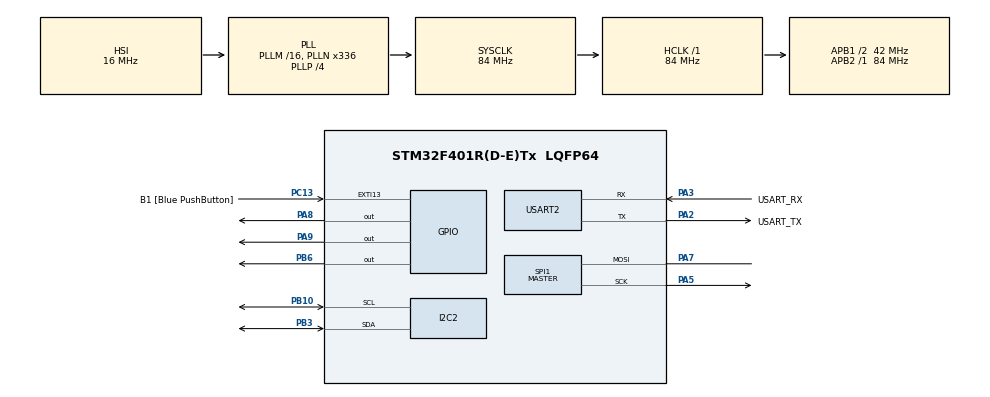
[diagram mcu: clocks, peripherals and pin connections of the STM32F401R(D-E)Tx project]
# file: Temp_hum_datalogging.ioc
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I2C2.I2C_Mode=I2C_Fast
Mcu.Family=STM32F4
Mcu.Name=STM32F401R(D-E)Tx
Mcu.Package=LQFP64
NVIC.PriorityGroup=NVIC_PRIORITYGROUP_0
PA13.GPIO_Label=TMS
PA13.Mode=Serial_Wire
PA13.Signal=SYS_JTMS-SWDIO
PA14.GPIO_Label=TCK
PA14.Mode=Serial_Wire
PA14.Signal=SYS_JTCK-SWCLK
PA2.GPIO_Label=USART_TX
PA2.GPIO_Mode=GPIO_MODE_AF_PP
PA2.GPIO_PuPd=GPIO_NOPULL
PA2.GPIO_Speed=GPIO_SPEED_FREQ_LOW
PA2.Mode=Asynchronous
PA2.Signal=USART2_TX
PA3.GPIO_Label=USART_RX
PA3.GPIO_Mode=GPIO_MODE_AF_PP
PA3.GPIO_PuPd=GPIO_NOPULL
PA3.GPIO_Speed=GPIO_SPEED_FREQ_LOW
PA3.Mode=Asynchronous
PA3.Signal=USART2_RX
PA5.Mode=Simplex_Bidirectional_Master
PA5.Signal=SPI1_SCK
PA7.Mode=Simplex_Bidirectional_Master
PA7.Signal=SPI1_MOSI
PA8.Signal=GPIO_Output
PA9.Signal=GPIO_Output
PB10.GPIO_Pu=GPIO_PULLUP
PB10.Mode=I2C
PB10.Signal=I2C2_SCL
PB3.Mode=I2C
PB3.Signal=I2C2_SDA
PB6.Signal=GPIO_Output
PC13-ANTI_TAMP.GPIO_Label=B1 [Blue PushButton]
PC13-ANTI_TAMP.GPIO_ModeDefaultEXTI=GPIO_MODE_IT_FALLING
PC13-ANTI_TAMP.GPIO_PuPd=GPIO_NOPULL
PC13-ANTI_TAMP.Signal=GPXTI13
PC14-OSC32_IN.Mode=LSE-External-Oscillator
PC14-OSC32_IN.Signal=RCC_OSC32_IN
PC15-OSC32_OUT.Mode=LSE-External-Oscillator
PC15-OSC32_OUT.Signal=RCC_OSC32_OUT
PH0\ -\ OSC_IN.Mode=HSE-External-Clock-Source
PH0\ -\ OSC_IN.Signal=RCC_OSC_IN
PH1\ -\ OSC_OUT.Mode=HSE-External-Clock-Source
PH1\ -\ OSC_OUT.Signal=RCC_OSC_OUT
ProjectManager.HeapSize=0x200
ProjectManager.StackSize=0x400
ProjectManager.TargetToolchain=STM32CubeIDE
RCC.48MHZClocksFreq_Value=48000000
RCC.AHBFreq_Value=84000000
RCC.APB1CLKDivider=RCC_HCLK_DIV2
RCC.APB1Freq_Value=42000000
RCC.APB1TimFreq_Value=84000000
RCC.APB2Freq_Value=84000000
RCC.APB2TimFreq_Value=84000000
RCC.CortexFreq_Value=84000000
RCC.HCLKFreq_Value=84000000
RCC.HSE_VALUE=8000000
RCC.HSI_VALUE=16000000
RCC.PLLN=336
RCC.PLLP=RCC_PLLP_DIV4
RCC.PLLQ=7
RCC.SYSCLKFreq_VALUE=84000000
RCC.SYSCLKSource=RCC_SYSCLKSOURCE_PLLCLK
RCC.VCOOutputFreq_Value=336000000
SPI1.Direction=SPI_DIRECTION_1LINE
SPI1.Mode=SPI_MODE_MASTER
SPI1.VirtualType=VM_MASTER
USART2.VirtualMode=VM_ASYNC
board=NUCLEO-F401RE

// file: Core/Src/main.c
/* USER CODE BEGIN Header */
/**
  ******************************************************************************
  * @file           : main.c
  * @brief          : Main program body
  ******************************************************************************
  * @attention
  *
  * Copyright (c) 2023 STMicroelectronics.
  * All rights reserved.
  *
  * This software is licensed under terms that can be found in the LICENSE file
  * in the root directory of this software component.
  * If no LICENSE file comes with this software, it is provided AS-IS.
  *
  ******************************************************************************
  */
/* USER CODE END Header */
#include "main.h"

/* USER CODE BEGIN Includes */
#include "htu21d.h"
#include "string.h"
#include "stdio.h"
#include "NanoEdgeAI.h"
#include "knowledge.h"
#include "sh1106.h"
/* USER CODE END Includes */

/* USER CODE BEGIN PD */
#define DATA_INPUT_USER 256
#define AXIS_NUMBER 2
#define CONFIRMATIONS_NB	(uint32_t)(3)

/* USER CODE END PD */

I2C_HandleTypeDef hi2c2;

SPI_HandleTypeDef hspi1;

UART_HandleTypeDef huart2;

/* USER CODE BEGIN PV */
float h21_buffer[DATA_INPUT_USER * AXIS_NUMBER] = {0};
float count = 0;
float output_class_buffer[CLASS_NUMBER]; // Buffer of class probabilities
const char *id2class[CLASS_NUMBER + 1] = { // Buffer for mapping class id to class name
	"unknown",
	"class18_19_75_76_data",
	"class18_19_76_77_data",
	"class18_19_77_78_data",
	"class18_19_78_79_data",
	"class18_19_79_80_data",
	"class18_19_80_81_data",
	"class18_19_81_82_data",
	"class18_19_82_83_data",
	"class18_19_83_84_data",
	"class18_19_84_85_data",
	"class19_20_75_76_data",
	"class19_20_76_77_data",
	"class19_20_77_78_data",
	"class19_20_78_79_data",
	"class19_20_79_80_data",
	"class19_20_80_81_data",
	"class19_20_81_82_data",
	"class19_20_82_83_data",
	"class19_20_83_84_data",
	"class19_20_84_85_data",
	"class20_21_75_76_data",
	"class20_21_76_77_data",
	"class20_21_77_78_data",
	"class20_21_78_79_data",
	"class20_21_79_80_data",
	"class20_21_80_81_data",
	"class20_21_81_82_data",
	"class20_21_82_83_data",
	"class20_21_83_84_data",
	"class20_21_84_85_data",
	"class21_22_75_76_data",
	"class21_22_76_77_data",
	"class21_22_77_78_data",
	"class21_22_78_79_data",
	"class21_22_79_80_data",
	"class21_22_80_81_data",
	"class21_22_81_82_data",
	"class21_22_82_83_data",
	"class21_22_83_84_data",
	"class21_22_84_85_data",
	"class22_23_75_76_data",
	"class22_23_76_77_data",
	"class22_23_77_78_data",
	"class22_23_78_79_data",
	"class22_23_79_80_data",
	"class22_23_80_81_data",
	"class22_23_81_82_data",
	"class22_23_82_83_data",
	"class22_23_83_84_data",
	"class22_23_84_85_data",
	"class23_24_75_76_data",
	"class23_24_76_77_data",
	"class23_24_77_78_data",
	"class23_24_78_79_data",
	"class23_24_79_80_data",
	"class23_24_80_81_data",
	"class23_24_81_82_data",
	"class23_24_82_83_data",
	"class23_24_83_84_data",
	"class23_24_84_85_data",
	"Coldroom",
	"Heatedroom",
	"outside",
	"roomtemperature",
	"acroom",
};
int Temp_,Humid_;
/* USER CODE END PV */

void SystemClock_Config(void);
static void MX_GPIO_Init(void);
static void MX_USART2_UART_Init(void);
static void MX_I2C2_Init(void);
static void MX_SPI1_Init(void);
/* USER CODE BEGIN PFP */
void fill_h21_buffer();
//void Log();
void Inference();
void printtemp();
void printhumd();
/* USER CODE END PFP */

int main(void)
{

  /* MCU Configuration--------------------------------------------------------*/

  /* Reset of all peripherals, Initializes the Flash interface and the Systick. */
  HAL_Init();

  /* Configure the system clock */
  SystemClock_Config();

  /* Initialize all configured peripherals */
  MX_GPIO_Init();
  MX_USART2_UART_Init();
  MX_I2C2_Init();
  MX_SPI1_Init();
  /* USER CODE BEGIN 2 */
  OLED_init();
  wakeUpHTU21D();

//  HTU21DF_Init();
  enum neai_state error_code = neai_classification_init(knowledge);
        	if (error_code != NEAI_OK) {
        		/* This happens if the knowledge does not correspond to the library or if the library works into a not supported board. */
        		printf("Knowledge Initialization ERROR!");
        	}
        	else{
        		printf("Knowledge Initialization DONE!");
        	}
    HAL_Delay(50);

  /* USER CODE END 2 */

  /* Infinite loop */
  /* USER CODE BEGIN WHILE */
  while (1)
  {
	  Inference();
//	  Log();
//	  readTemperature();
//	  readHumidity();
//	  printf(" T= %.2f \t H= %.2f \r\n ",Temp,Humid);

	  HAL_Delay(15);
	  count = count + 1;
    /* USER CODE END WHILE */

  }
}

void SystemClock_Config(void)
{
  RCC_OscInitTypeDef RCC_OscInitStruct = {0};
  RCC_ClkInitTypeDef RCC_ClkInitStruct = {0};

  /** Configure the main internal regulator output voltage
  */
  __HAL_RCC_PWR_CLK_ENABLE();
  __HAL_PWR_VOLTAGESCALING_CONFIG(PWR_REGULATOR_VOLTAGE_SCALE2);

  /** Initializes the RCC Oscillators according to the specified parameters
  * in the RCC_OscInitTypeDef structure.
  */
  RCC_OscInitStruct.OscillatorType = RCC_OSCILLATORTYPE_HSI;
  RCC_OscInitStruct.HSIState = RCC_HSI_ON;
  RCC_OscInitStruct.HSICalibrationValue = RCC_HSICALIBRATION_DEFAULT;
  RCC_OscInitStruct.PLL.PLLState = RCC_PLL_ON;
  RCC_OscInitStruct.PLL.PLLSource = RCC_PLLSOURCE_HSI;
  RCC_OscInitStruct.PLL.PLLM = 16;
  RCC_OscInitStruct.PLL.PLLN = 336;
  RCC_OscInitStruct.PLL.PLLP = RCC_PLLP_DIV4;
  RCC_OscInitStruct.PLL.PLLQ = 7;
  if (HAL_RCC_OscConfig(&RCC_OscInitStruct) != HAL_OK)
  {
    Error_Handler();
  }

  /** Initializes the CPU, AHB and APB buses clocks
  */
  RCC_ClkInitStruct.ClockType = RCC_CLOCKTYPE_HCLK|RCC_CLOCKTYPE_SYSCLK
                              |RCC_CLOCKTYPE_PCLK1|RCC_CLOCKTYPE_PCLK2;
  RCC_ClkInitStruct.SYSCLKSource = RCC_SYSCLKSOURCE_PLLCLK;
  RCC_ClkInitStruct.AHBCLKDivider = RCC_SYSCLK_DIV1;
  RCC_ClkInitStruct.APB1CLKDivider = RCC_HCLK_DIV2;
  RCC_ClkInitStruct.APB2CLKDivider = RCC_HCLK_DIV1;

  if (HAL_RCC_ClockConfig(&RCC_ClkInitStruct, FLASH_LATENCY_2) != HAL_OK)
  {
    Error_Handler();
  }
}

static void MX_I2C2_Init(void)
{

  hi2c2.Instance = I2C2;
  hi2c2.Init.ClockSpeed = 400000;
  hi2c2.Init.DutyCycle = I2C_DUTYCYCLE_2;
  hi2c2.Init.OwnAddress1 = 0;
  hi2c2.Init.AddressingMode = I2C_ADDRESSINGMODE_7BIT;
  hi2c2.Init.DualAddressMode = I2C_DUALADDRESS_DISABLE;
  hi2c2.Init.OwnAddress2 = 0;
  hi2c2.Init.GeneralCallMode = I2C_GENERALCALL_DISABLE;
  hi2c2.Init.NoStretchMode = I2C_NOSTRETCH_DISABLE;
  if (HAL_I2C_Init(&hi2c2) != HAL_OK)
  {
    Error_Handler();
  }

}

static void MX_SPI1_Init(void)
{

  /* SPI1 parameter configuration*/
  hspi1.Instance = SPI1;
  hspi1.Init.Mode = SPI_MODE_MASTER;
  hspi1.Init.Direction = SPI_DIRECTION_1LINE;
  hspi1.Init.DataSize = SPI_DATASIZE_8BIT;
  hspi1.Init.CLKPolarity = SPI_POLARITY_LOW;
  hspi1.Init.CLKPhase = SPI_PHASE_1EDGE;
  hspi1.Init.NSS = SPI_NSS_SOFT;
  hspi1.Init.BaudRatePrescaler = SPI_BAUDRATEPRESCALER_2;
  hspi1.Init.FirstBit = SPI_FIRSTBIT_MSB;
  hspi1.Init.TIMode = SPI_TIMODE_DISABLE;
  hspi1.Init.CRCCalculation = SPI_CRCCALCULATION_DISABLE;
  hspi1.Init.CRCPolynomial = 10;
  if (HAL_SPI_Init(&hspi1) != HAL_OK)
  {
    Error_Handler();
  }

}

static void MX_USART2_UART_Init(void)
{

  huart2.Instance = USART2;
  huart2.Init.BaudRate = 115200;
  huart2.Init.WordLength = UART_WORDLENGTH_8B;
  huart2.Init.StopBits = UART_STOPBITS_1;
  huart2.Init.Parity = UART_PARITY_NONE;
  huart2.Init.Mode = UART_MODE_TX_RX;
  huart2.Init.HwFlowCtl = UART_HWCONTROL_NONE;
  huart2.Init.OverSampling = UART_OVERSAMPLING_16;
  if (HAL_UART_Init(&huart2) != HAL_OK)
  {
    Error_Handler();
  }

}

static void MX_GPIO_Init(void)
{
  GPIO_InitTypeDef GPIO_InitStruct = {0};

  /* GPIO Ports Clock Enable */
  __HAL_RCC_GPIOC_CLK_ENABLE();
  __HAL_RCC_GPIOH_CLK_ENABLE();
  __HAL_RCC_GPIOA_CLK_ENABLE();
  __HAL_RCC_GPIOB_CLK_ENABLE();

  /*Configure GPIO pin Output Level */
  HAL_GPIO_WritePin(GPIOA, GPIO_PIN_8|GPIO_PIN_9, GPIO_PIN_RESET);

  /*Configure GPIO pin Output Level */
  HAL_GPIO_WritePin(GPIOB, GPIO_PIN_6, GPIO_PIN_RESET);

  /*Configure GPIO pin : B1_Pin */
  GPIO_InitStruct.Pin = B1_Pin;
  GPIO_InitStruct.Mode = GPIO_MODE_IT_FALLING;
  GPIO_InitStruct.Pull = GPIO_NOPULL;
  HAL_GPIO_Init(B1_GPIO_Port, &GPIO_InitStruct);

  /*Configure GPIO pins : PA8 PA9 */
  GPIO_InitStruct.Pin = GPIO_PIN_8|GPIO_PIN_9;
  GPIO_InitStruct.Mode = GPIO_MODE_OUTPUT_PP;
  GPIO_InitStruct.Pull = GPIO_NOPULL;
  GPIO_InitStruct.Speed = GPIO_SPEED_FREQ_LOW;
  HAL_GPIO_Init(GPIOA, &GPIO_InitStruct);

  /*Configure GPIO pin : PB6 */
  GPIO_InitStruct.Pin = GPIO_PIN_6;
  GPIO_InitStruct.Mode = GPIO_MODE_OUTPUT_PP;
  GPIO_InitStruct.Pull = GPIO_NOPULL;
  GPIO_InitStruct.Speed = GPIO_SPEED_FREQ_LOW;
  HAL_GPIO_Init(GPIOB, &GPIO_InitStruct);

}

/* USER CODE BEGIN 4 */
int __io_putchar(int ch) {
  HAL_UART_Transmit(&huart2, (uint8_t *)&ch, 1, HAL_MAX_DELAY);
  return ch;
}

void fill_h21_buffer() {
	for (int i = 0; i < DATA_INPUT_USER; i++) {
		readTemperature();
		readHumidity();
		printtemp();
		printhumd();
		h21_buffer[AXIS_NUMBER * i] = Temp;
		h21_buffer[AXIS_NUMBER * i + 1] = Humid;
//		h21_buffer[AXIS_NUMBER * i] = T;
//		h21_buffer[AXIS_NUMBER * i + 1] = H;
	}
}

void Log(){
	fill_h21_buffer();
	for (int i = 0; i < DATA_INPUT_USER; i++) {
		printf("%.2f", h21_buffer[AXIS_NUMBER * i]);
		printf(" ");
		printf("%.2f", h21_buffer[AXIS_NUMBER * i + 1]);
		printf(" ");
	}
	printf("\r\n");
	HAL_Delay(100);
}

void Inference(){
	uint16_t i, id_class_t0, id_class_tn;
//	char str[3];
	fill_h21_buffer();
	neai_classification(h21_buffer, output_class_buffer, &id_class_t0);
	for(i=0; i<CONFIRMATIONS_NB-1; i++){
		fill_h21_buffer();
		neai_classification(h21_buffer, output_class_buffer, &id_class_tn);
		if(id_class_t0 != id_class_tn){
			break;
		}
		if(id_class_t0 == id_class_tn){
			printf("Detected Class:");
			printf(id2class[id_class_t0]);
			printf("\r\n");

			if(id_class_t0 > 60){
				printf("Non Optimal");
				printf("\r\n");
				OLED_set_position(3, 5);
				printStr("Non Optimal");
//				sprintf(str, "%s",id2class[id_class_t0]);
//				printStr(str);
			}
			else{
				printf("Optimal");
				printf("\r\n");
				OLED_set_position(3, 5);
				printStr("Optimal");
				//				sprintf(str, "%s",id2class[id_class_t0]);
				//				printStr(str);
			}
		}
		else{
			printf("?");
			printf("\r\n");
		}
	}
}

void printtemp(){
	char str[3];
	OLED_set_position(1, 5);
	printStr("T: ");
	Temp_ = Temp;
	sprintf(str, "%d",Temp_);
	printStr(str);
	printStr(" degC");
	if(Temp_  >= 18 && Temp_ <= 24){
		OLED_set_position(4,5);
		printStr("Temp OK");
	}
	else{
		OLED_set_position(4,5);
		printStr("Temp Not OK");
	}
//	printStr("\r\n");
}
void printhumd(){
	char str[3];
	OLED_set_position(2, 5);
	printStr("H: ");
	Humid_ = Humid;
	sprintf(str, "%d",Humid_);
	printStr(str);
	printStr(" RH");
//	printStr("\r\n");
	if(Humid_  >= 75 && Humid_ <= 85){
			OLED_set_position(5,5);
			printStr("Hum OK");
		}
		else{
			OLED_set_position(5,5);
			printStr("Hum Not OK");
		}
}

/* USER CODE END 4 */

void Error_Handler(void)
{
  __disable_irq();
  while (1)
  {
  }
}
